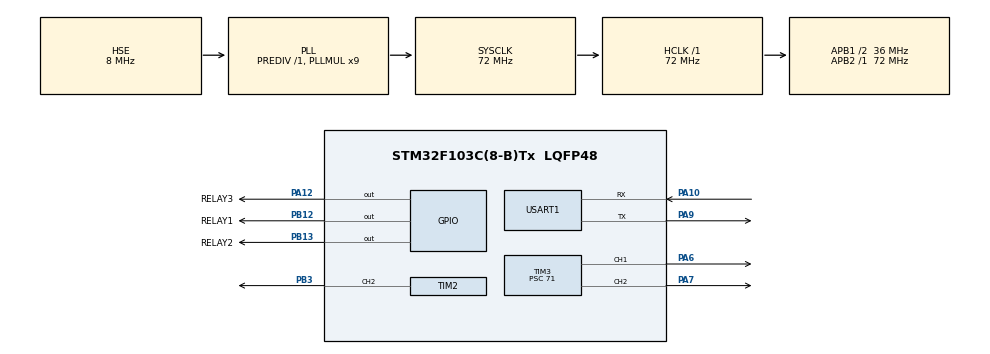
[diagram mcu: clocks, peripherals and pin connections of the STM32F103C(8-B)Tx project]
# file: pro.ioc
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Dma.Request0=USART1_RX
Dma.Request1=TIM2_CH2/CH4
Dma.TIM2_CH2/CH4.1.Direction=DMA_MEMORY_TO_PERIPH
Dma.TIM2_CH2/CH4.1.Instance=DMA1_Channel7
Dma.TIM2_CH2/CH4.1.MemDataAlignment=DMA_MDATAALIGN_HALFWORD
Dma.TIM2_CH2/CH4.1.MemInc=DMA_MINC_ENABLE
Dma.TIM2_CH2/CH4.1.Mode=DMA_NORMAL
Dma.TIM2_CH2/CH4.1.PeriphDataAlignment=DMA_PDATAALIGN_HALFWORD
Dma.TIM2_CH2/CH4.1.PeriphInc=DMA_PINC_DISABLE
Dma.TIM2_CH2/CH4.1.Priority=DMA_PRIORITY_LOW
Dma.USART1_RX.0.Direction=DMA_PERIPH_TO_MEMORY
Dma.USART1_RX.0.Instance=DMA1_Channel5
Dma.USART1_RX.0.MemDataAlignment=DMA_MDATAALIGN_BYTE
Dma.USART1_RX.0.MemInc=DMA_MINC_ENABLE
Dma.USART1_RX.0.Mode=DMA_NORMAL
Dma.USART1_RX.0.PeriphDataAlignment=DMA_PDATAALIGN_BYTE
Dma.USART1_RX.0.PeriphInc=DMA_PINC_DISABLE
Dma.USART1_RX.0.Priority=DMA_PRIORITY_LOW
FREERTOS.Tasks01=defaultTask,24,128,StartDefaultTask,Default,NULL,Dynamic,NULL,NULL
Mcu.Family=STM32F1
Mcu.Name=STM32F103C(8-B)Tx
Mcu.Package=LQFP48
NVIC.DMA1_Channel5_IRQn=true\:5\:0\:false\:false\:true\:true\:false\:true\:true
NVIC.DMA1_Channel7_IRQn=true\:5\:0\:false\:false\:true\:true\:false\:true\:true
NVIC.PriorityGroup=NVIC_PRIORITYGROUP_4
NVIC.TIM1_UP_IRQn=true\:15\:0\:false\:false\:true\:false\:false\:true\:true
NVIC.TimeBase=TIM1_UP_IRQn
NVIC.TimeBaseIP=TIM1
NVIC.USART1_IRQn=true\:5\:0\:false\:false\:true\:true\:true\:true\:true
PA10.Mode=Asynchronous
PA10.Signal=USART1_RX
PA12.GPIO_Label=RELAY3
PA12.Signal=GPIO_Output
PA13.Mode=Serial_Wire
PA13.Signal=SYS_JTMS-SWDIO
PA14.Mode=Serial_Wire
PA14.Signal=SYS_JTCK-SWCLK
PA6.Signal=S_TIM3_CH1
PA7.Signal=S_TIM3_CH2
PA9.Mode=Asynchronous
PA9.Signal=USART1_TX
PB12.GPIO_Label=RELAY1
PB12.Signal=GPIO_Output
PB13.GPIO_Label=RELAY2
PB13.Signal=GPIO_Output
PB3.Signal=S_TIM2_CH2
PD0-OSC_IN.Mode=HSE-External-Oscillator
PD0-OSC_IN.Signal=RCC_OSC_IN
PD1-OSC_OUT.Mode=HSE-External-Oscillator
PD1-OSC_OUT.Signal=RCC_OSC_OUT
ProjectManager.HeapSize=0x200
ProjectManager.StackSize=0x400
ProjectManager.TargetToolchain=MDK-ARM V5.32
RCC.AHBFreq_Value=72000000
RCC.APB1CLKDivider=RCC_HCLK_DIV2
RCC.APB1Freq_Value=36000000
RCC.APB1TimFreq_Value=72000000
RCC.APB2Freq_Value=72000000
RCC.APB2TimFreq_Value=72000000
RCC.HCLKFreq_Value=72000000
RCC.PLLMUL=RCC_PLL_MUL9
RCC.PLLSourceVirtual=RCC_PLLSOURCE_HSE
RCC.SYSCLKFreq_VALUE=72000000
RCC.SYSCLKSource=RCC_SYSCLKSOURCE_PLLCLK
RCC.USBFreq_Value=72000000
SH.S_TIM2_CH2.0=TIM2_CH2,PWM Generation2 CH2
SH.S_TIM3_CH1.0=TIM3_CH1,PWM Generation1 CH1
SH.S_TIM3_CH2.0=TIM3_CH2,PWM Generation2 CH2
TIM2.Channel-PWM\ Generation2\ CH2=TIM_CHANNEL_2
TIM2.Period=89
TIM3.Channel-PWM\ Generation1\ CH1=TIM_CHANNEL_1
TIM3.Channel-PWM\ Generation2\ CH2=TIM_CHANNEL_2
TIM3.Period=999
TIM3.Prescaler=71
USART1.VirtualMode=VM_ASYNC
VP_FREERTOS_VS_CMSIS_V2.Mode=CMSIS_V2
VP_SYS_VS_tim1.Mode=TIM1
VP_TIM2_VS_ClockSourceINT.Mode=Internal
VP_TIM3_VS_ClockSourceINT.Mode=Internal
board=custom

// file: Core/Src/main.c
/* USER CODE BEGIN Header */
/**
  ******************************************************************************
  * @file           : main.c
  * @brief          : Main program body
  ******************************************************************************
  * @attention
  *
  * Copyright (c) 2026 STMicroelectronics.
  * All rights reserved.
  *
  * This software is licensed under terms that can be found in the LICENSE file
  * in the root directory of this software component.
  * If no LICENSE file comes with this software, it is provided AS-IS.
  *
  ******************************************************************************
  */
/* USER CODE END Header */
#include "main.h"
#include "cmsis_os.h"
#include "dma.h"
#include "tim.h"
#include "usart.h"
#include "gpio.h"

void SystemClock_Config(void);
void MX_FREERTOS_Init(void);

int main(void)
{

  /* MCU Configuration--------------------------------------------------------*/

  /* Reset of all peripherals, Initializes the Flash interface and the Systick. */
  HAL_Init();

  /* Configure the system clock */
  SystemClock_Config();

  /* Initialize all configured peripherals */
  MX_GPIO_Init();
  MX_DMA_Init();
  MX_USART1_UART_Init();
  MX_TIM2_Init();
  MX_TIM3_Init();

  /* Init scheduler */
  osKernelInitialize();  /* Call init function for freertos objects (in cmsis_os2.c) */
  MX_FREERTOS_Init();

  /* Start scheduler */
  osKernelStart();

  /* We should never get here as control is now taken by the scheduler */

  /* Infinite loop */
  while (1)
  {

  }
}

void SystemClock_Config(void)
{
  RCC_OscInitTypeDef RCC_OscInitStruct = {0};
  RCC_ClkInitTypeDef RCC_ClkInitStruct = {0};

  /** Initializes the RCC Oscillators according to the specified parameters
  * in the RCC_OscInitTypeDef structure.
  */
  RCC_OscInitStruct.OscillatorType = RCC_OSCILLATORTYPE_HSE;
  RCC_OscInitStruct.HSEState = RCC_HSE_ON;
  RCC_OscInitStruct.HSEPredivValue = RCC_HSE_PREDIV_DIV1;
  RCC_OscInitStruct.HSIState = RCC_HSI_ON;
  RCC_OscInitStruct.PLL.PLLState = RCC_PLL_ON;
  RCC_OscInitStruct.PLL.PLLSource = RCC_PLLSOURCE_HSE;
  RCC_OscInitStruct.PLL.PLLMUL = RCC_PLL_MUL9;
  if (HAL_RCC_OscConfig(&RCC_OscInitStruct) != HAL_OK)
  {
    Error_Handler();
  }

  /** Initializes the CPU, AHB and APB buses clocks
  */
  RCC_ClkInitStruct.ClockType = RCC_CLOCKTYPE_HCLK|RCC_CLOCKTYPE_SYSCLK
                              |RCC_CLOCKTYPE_PCLK1|RCC_CLOCKTYPE_PCLK2;
  RCC_ClkInitStruct.SYSCLKSource = RCC_SYSCLKSOURCE_PLLCLK;
  RCC_ClkInitStruct.AHBCLKDivider = RCC_SYSCLK_DIV1;
  RCC_ClkInitStruct.APB1CLKDivider = RCC_HCLK_DIV2;
  RCC_ClkInitStruct.APB2CLKDivider = RCC_HCLK_DIV1;

  if (HAL_RCC_ClockConfig(&RCC_ClkInitStruct, FLASH_LATENCY_2) != HAL_OK)
  {
    Error_Handler();
  }
}

void HAL_TIM_PeriodElapsedCallback(TIM_HandleTypeDef *htim)
{
  if (htim->Instance == TIM1)
  {
    HAL_IncTick();
  }
}

void Error_Handler(void)
{
  __disable_irq();
  while (1)
  {
  }
}

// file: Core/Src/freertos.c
/* USER CODE BEGIN Header */
/**
  ******************************************************************************
  * File Name          : freertos.c
  * Description        : Code for freertos applications
  ******************************************************************************
  * @attention
  *
  * Copyright (c) 2026 STMicroelectronics.
  * All rights reserved.
  *
  * This software is licensed under terms that can be found in the LICENSE file
  * in the root directory of this software component.
  * If no LICENSE file comes with this software, it is provided AS-IS.
  *
  ******************************************************************************
  */
/* USER CODE END Header */

#include "FreeRTOS.h"
#include "task.h"
#include "main.h"
#include "cmsis_os.h"

/* USER CODE BEGIN Includes */
#include "usart.h"
#include <string.h>
#include "uartmcp.h"
#include "ws2812b.h"
#include "tim.h"
#include "uln2003an.h"
#include "delay.h"
#include "dht11.h"
#include "key.h"
/* USER CODE END Includes */

/* USER CODE BEGIN PTD */
data_t g_data;

/* USER CODE END PTD */

/* Definitions for defaultTask */
osThreadId_t defaultTaskHandle;
const osThreadAttr_t defaultTask_attributes = {
  .name = "defaultTask",
  .stack_size = 128 * 4,
  .priority = (osPriority_t) osPriorityNormal,
};

void StartDefaultTask(void *argument);

void MX_FREERTOS_Init(void); /* (MISRA C 2004 rule 8.1) */

void MX_FREERTOS_Init(void) {

  /* Create the thread(s) */
  /* creation of defaultTask */
  defaultTaskHandle = osThreadNew(StartDefaultTask, NULL, &defaultTask_attributes);

}

void StartDefaultTask(void *argument)
{
  /* USER CODE BEGIN StartDefaultTask */
  /* Infinite loop */

	//HAL_UART_Transmit(&huart1,"hello ai\r\n",strlen("hello ai\r\n"),1000);

		TIM4_Delay_Init();

	Win_Motor_GPIO_Init();
	HAL_GPIO_WritePin(RELAY1_GPIO_Port, RELAY1_Pin, GPIO_PIN_SET);
	osDelay(400);
	HAL_GPIO_WritePin(RELAY1_GPIO_Port, RELAY1_Pin, GPIO_PIN_RESET);
	osDelay(400);
	HAL_GPIO_WritePin(RELAY2_GPIO_Port, RELAY2_Pin, GPIO_PIN_SET);
	osDelay(400);
	HAL_GPIO_WritePin(RELAY2_GPIO_Port, RELAY2_Pin, GPIO_PIN_RESET);
	osDelay(400);
	HAL_GPIO_WritePin(RELAY3_GPIO_Port, RELAY3_Pin, GPIO_PIN_SET);
	osDelay(400);
	HAL_GPIO_WritePin(RELAY3_GPIO_Port, RELAY3_Pin, GPIO_PIN_RESET);
	osDelay(400);
	win_open(1000);
	osDelay(400);
	win_close(1000);
	osDelay(400);

	LEDs_Driver_Init();
	WS2812B_Init();
	DHT11_Init();
	mcp_uart_init();

	Key_Init();        /* PB0/1/4/5 keys + PA11 buzzer */
	Key_Task_Start();  /* 20ms key scan task */

	LEDs_SetColdBrightness(500);
	LEDs_SetWarmBrightness(500);
	osDelay(400);
	LEDs_SetColdBrightness(0);
	LEDs_SetWarmBrightness(0);
	osDelay(400);

  for(;;)
  {
		if(g_data.leds_state == 1)
		{

			LEDs_SetColdBrightness(g_data.leds_cold);
			LEDs_SetWarmBrightness(g_data.leds_worm);
		}
		else
		{
			LEDs_SetColdBrightness(0);
			LEDs_SetWarmBrightness(0);
		}

			if(g_data.gongwei_led_state)
		{
			HAL_GPIO_WritePin(RELAY1_GPIO_Port, RELAY1_Pin, GPIO_PIN_SET);
		}else
		{
			HAL_GPIO_WritePin(RELAY1_GPIO_Port, RELAY1_Pin, GPIO_PIN_RESET);
		}

		if(g_data.gongwei_fan_state)
		{
			HAL_GPIO_WritePin(RELAY2_GPIO_Port, RELAY2_Pin, GPIO_PIN_SET);
		}else
		{
			HAL_GPIO_WritePin(RELAY2_GPIO_Port, RELAY2_Pin, GPIO_PIN_RESET);
		}

		if(g_data.kongtian_state)
		{
			HAL_GPIO_WritePin(RELAY3_GPIO_Port, RELAY3_Pin, GPIO_PIN_SET);
		}else
		{
				HAL_GPIO_WritePin(RELAY3_GPIO_Port, RELAY3_Pin, GPIO_PIN_RESET);
		}

		if(g_data.win_state)
		{
			win_open(1000);      // 内部有状态锁存，已打开时不会重复转动
		}
		else
		{
			win_close(1000);
		}

		DHT11_ReadData(&g_data.humi,&g_data.temp);

    osDelay(500);
  }
  /* USER CODE END StartDefaultTask */
}
